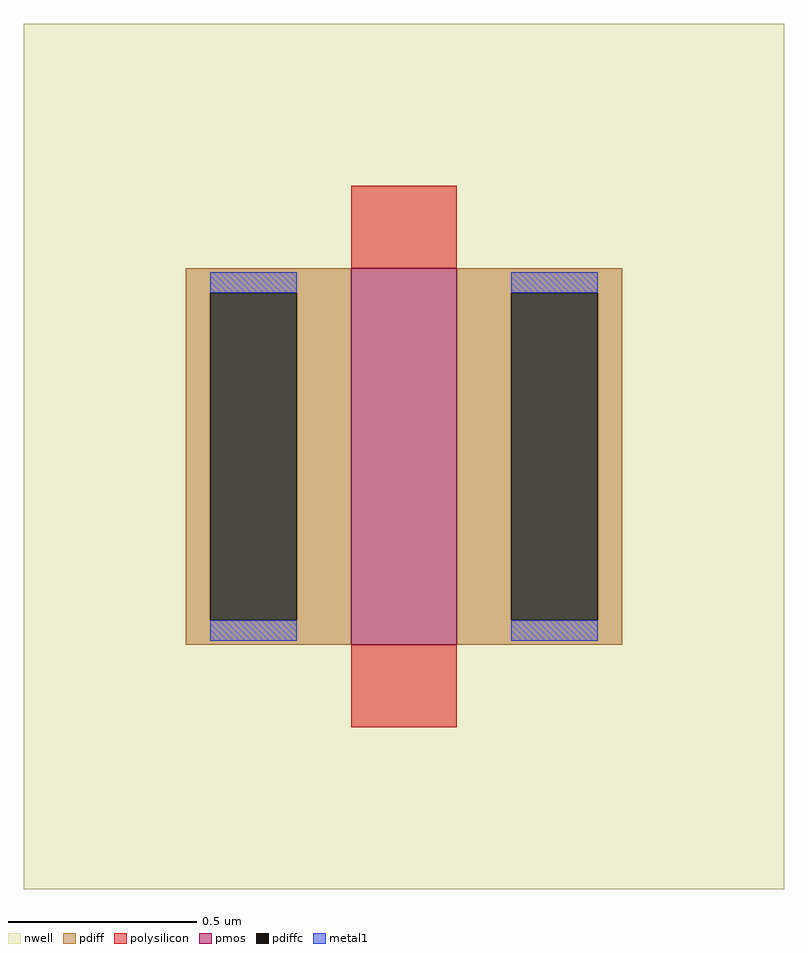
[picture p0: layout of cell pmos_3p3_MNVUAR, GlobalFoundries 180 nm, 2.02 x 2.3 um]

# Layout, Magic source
magic
tech gf180mcuC
magscale 1 10
<< nwell >>
rect -202 -230 202 230
<< pmos >>
rect -28 -100 28 100
<< pdiff >>
rect -116 87 -28 100
rect -116 -87 -103 87
rect -57 -87 -28 87
rect -116 -100 -28 -87
rect 28 87 116 100
rect 28 -87 57 87
rect 103 -87 116 87
rect 28 -100 116 -87
<< pdiffc >>
rect -103 -87 -57 87
rect 57 -87 103 87
<< polysilicon >>
rect -28 100 28 144
rect -28 -144 28 -100
<< metal1 >>
rect -103 87 -57 98
rect -103 -98 -57 -87
rect 57 87 103 98
rect 57 -98 103 -87
<< properties >>
string gencell pmos_3p3
string library gf180mcu
string parameters w 1 l 0.280 m 1 nf 1 diffcov 100 polycov 100 guard 0 glc 0 grc 0 gtc 0 gbc 0 tbcov 100 rlcov 100 topc 0 botc 0 poverlap 0 doverlap 1 lmin 0.28 wmin 0.22 full_metal 0 compatible {pmos_3p3 pmos_6p0}
<< end >>
